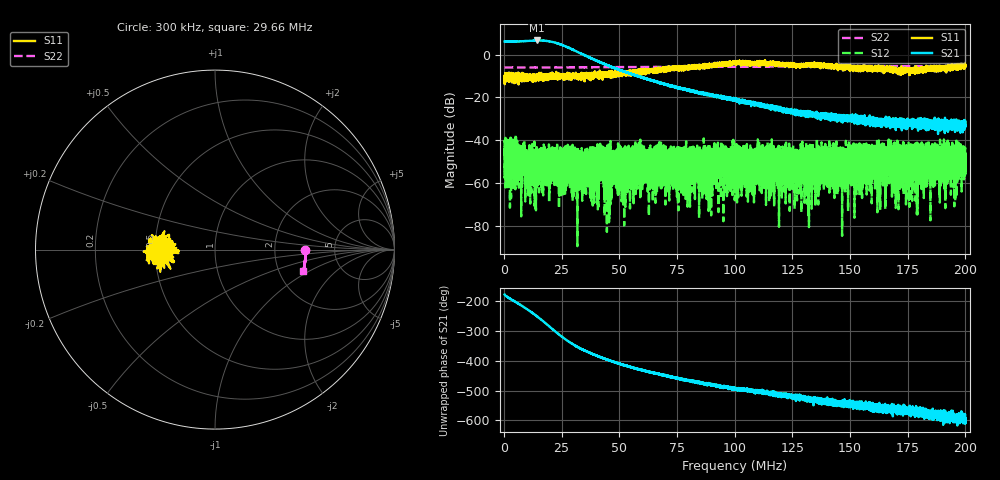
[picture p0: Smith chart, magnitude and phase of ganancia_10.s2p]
# Hz S DB R 50
! CMT, M5065, 19127446, 24.2.4/2
! Date: 10/29/2024 11:59:50 AM
! Data: Format (Calibration Info)
! Freq	S11:dB/Ang(F2)	S21:dB/Ang(F2)	S12:dB/Ang(F2)	S22:dB/Ang(F2)
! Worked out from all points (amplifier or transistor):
!   9000 points, 300 kHz to 200 MHz, reference 50 ohm
!   highest |S21| = 6.7 dB at 14.3 MHz (marker M1)
!   |S21| within 3 dB of that: start of sweep to 27.15 MHz
!   unconditionally stable (mu >= 1): start of sweep to end of sweep
!   at 33.59 MHz: K = 117.90, MAG = 2.3 dB, |S12| = -51.6 dB
!   at 100.2 MHz: K = 255.39, MAG = -16.8 dB, |S12| = -41.4 dB
!   at 200 MHz: K = 2242.54, MAG = -30.2 dB, |S12| = -45.7 dB
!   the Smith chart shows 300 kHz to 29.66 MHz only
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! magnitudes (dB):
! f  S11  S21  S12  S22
! 300 kHz  -10.7  6.2  -47.0  -6.0
! 10.11 MHz  -11.1  6.5  -48.5  -5.9
! 14.3 MHz  -11.8  6.7  -58.0  -5.9
! 33.59 MHz  -9.4  0.5  -51.6  -5.8
! 66.87 MHz  -6.7  -12.8  -53.3  -5.7
! 100.2 MHz  -3.4  -20.9  -41.4  -5.6
! 101.8 MHz  -3.5  -21.4  -57.4  -5.6
! 103.7 MHz  -3.5  -21.1  -53.1  -5.6
! 107.8 MHz  -4.2  -22.9  -45.9  -5.6
! 110.4 MHz  -4.4  -23.5  -44.2  -5.6
! 114.2 MHz  -4.2  -24.9  -59.7  -5.6
! 118.2 MHz  -3.7  -24.9  -52.6  -5.5
! 123.5 MHz  -5.8  -26.4  -47.8  -5.4
! 133.4 MHz  -4.6  -28.0  -46.7  -5.3
! 147.2 MHz  -5.2  -29.4  -50.1  -5.3
! 150.2 MHz  -6.8  -30.9  -45.0  -5.2
! 154.9 MHz  -6.5  -28.9  -54.6  -5.3
! 166.7 MHz  -7.0  -31.6  -46.5  -5.3
! 180.6 MHz  -7.4  -31.0  -43.3  -5.4
! 187.4 MHz  -8.0  -32.3  -46.6  -5.4
! 189.4 MHz  -6.5  -32.1  -45.0  -5.4
! 200 MHz  -5.5  -33.1  -45.7  -5.5
